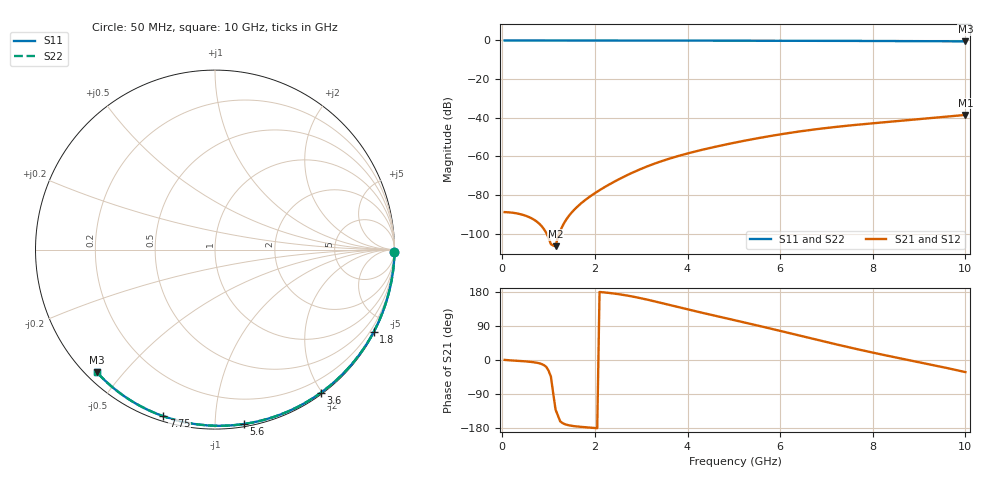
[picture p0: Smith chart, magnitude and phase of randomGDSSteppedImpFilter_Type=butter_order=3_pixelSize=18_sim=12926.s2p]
! freq	dB(S11)	phase(S11)	dB(S12)	phase(S12)
!  dB(S21)	phase(S21)	dB(S22)	phase(S22)
!S-par simulation data
#  GHz  S  DB  R 50
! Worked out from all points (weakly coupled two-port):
!   200 points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, 50 MHz to 10 GHz, reference 50 ohm
!   highest |S21| = -38.50 dB at 10 GHz (marker M1); lowest = -106.4 dB at 1.15 GHz (marker M2)
!   lowest |S11| = -0.5 dB at 10 GHz (marker M3), VSWR 38.07, Z = 1.55 - j21.2 ohm
!   |S11| at or under -10 dB: nowhere
!   |S22| runs from -0.5 to 0.0 dB; largest |S21 - S12| = 0
!   S11 on the Smith chart (normalised r, x): 50 MHz: open; 1.8 GHz: 0.04, -4.11; 3.6 GHz: 0.02, -1.99; 5.6 GHz: 0.02, -1.18; 7.75 GHz: 0.02, -0.74; 10 GHz: 0.03, -0.42
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0.05  -0.00 -0.8  -88.78 0.3  -88.78 0.3  -0.00 -0.8
0.6  -0.01 -9.2  -91.60 -4.7  -91.60 -4.7  -0.01 -9.2
1.15  -0.02 -17.6  -106.40 -130.9  -106.40 -130.9  -0.02 -17.6
1.75  -0.03 -26.6  -83.29 -177.0  -83.29 -177.0  -0.03 -26.6
1.8  -0.03 -27.3  -82.35 -177.5  -82.35 -177.5  -0.03 -27.3
1.9  -0.04 -28.8  -80.60 -178.5  -80.60 -178.5  -0.04 -28.8
1.95  -0.04 -29.6  -79.77 -178.9  -79.77 -178.9  -0.04 -29.6
2.25  -0.04 -34.0  -75.29 177.7  -75.29 177.7  -0.04 -34.0
2.65  -0.05 -39.9  -70.19 171.1  -70.19 171.1  -0.05 -39.9
3.05  -0.06 -45.6  -65.90 161.5  -65.90 161.5  -0.06 -45.6
3.4  -0.07 -50.6  -62.76 151.5  -62.76 151.5  -0.07 -50.6
3.6  -0.07 -53.5  -61.19 145.6  -61.19 145.6  -0.07 -53.5
3.9  -0.08 -57.7  -59.09 136.7  -59.09 136.7  -0.08 -57.7
4.25  -0.09 -62.5  -56.93 126.5  -56.93 126.5  -0.09 -62.5
5.05  -0.11 -73.3  -52.71 104.1  -52.71 104.1  -0.11 -73.3
5.6  -0.13 -80.5  -50.21 88.5  -50.21 88.5  -0.13 -80.5
6.15  -0.15 -87.6  -48.02 72.5  -48.02 72.5  -0.15 -87.6
6.7  -0.18 -94.5  -46.15 56.2  -46.15 56.2  -0.18 -94.5
7.75  -0.25 -107.3  -43.40 26.2  -43.40 26.2  -0.25 -107.3
8.35  -0.29 -114.5  -42.11 10.4  -42.11 10.4  -0.29 -114.5
9.15  -0.37 -123.9  -40.43 -9.7  -40.43 -9.7  -0.37 -123.9
10  -0.46 -134.0  -38.50 -32.0  -38.50 -32.0  -0.46 -134.0
